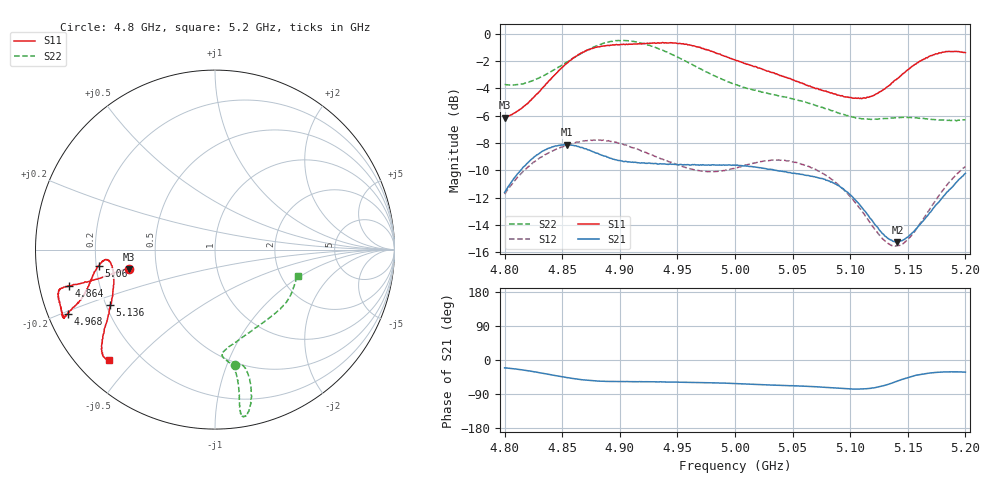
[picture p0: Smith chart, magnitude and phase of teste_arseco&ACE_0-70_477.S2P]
! Network Analyzer HP8722D
! Hewlett-Packard
! Data name: Linha & Wilkinson
! Saver's name: Rodrigo Anjos
! Comments: Teste da utilização de aquisição
! continua pelo VNA HP8722D
! Time and date: 8/5/2025 16:44
!  Frequency  S11  S21  S12  S22
# HZ  S  MA R 50
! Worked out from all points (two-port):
!   401 points, 4.8 GHz to 5.2 GHz, reference 50 ohm
!   highest |S21| = -8.13 dB at 4.854 GHz (marker M1); lowest = -15.2 dB at 5.141 GHz (marker M2)
!   |S21| within 3 dB of the highest: 4.804 GHz to 5.09 GHz (286.4 MHz wide, 5.79 % of centre); 5.189625 GHz to end of sweep
!   lowest |S11| = -6.1 dB at 4.8 GHz (marker M3), VSWR 2.95, Z = 17.2 - j4.89 ohm
!   |S11| at or under -10 dB: nowhere
!   |S22| runs from -6.4 to -0.5 dB; largest |S21 - S12| = 0.62
!   S11 on the Smith chart (normalised r, x): 4.8 GHz: 0.34, -0.10; 4.864 GHz: 0.09, -0.12; 4.968 GHz: 0.06, -0.21; 5.06 GHz: 0.21, -0.07; 5.136 GHz: 0.22, -0.24; 5.2 GHz: 0.09, -0.42
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4.8e9  0.4931 -167.4  0.2624 -20.8  0.2586 -141.9  0.6525 -80.2
4.826e9  0.5892 -166.8  0.3546 -31.4  0.3397 -146.1  0.6772 -75.9
4.854e9  0.7793 -165.9  0.392 -46.5  0.3904 -151.0  0.7881 -75.3
4.864e9  0.8396 -166.0  0.3863 -50.7  0.4008 -152.6  0.8339 -76.0
4.867e9  0.851 -166.0  0.3834 -52.1  0.4038 -153.1  0.8494 -76.2
4.898e9  0.9104 -163.2  0.3438 -56.9  0.398 -157.1  0.9433 -79.7
4.914e9  0.9164 -159.9  0.3377 -57.0  0.3785 -157.6  0.9342 -80.9
4.934e9  0.924 -156.7  0.3334 -57.8  0.3513 -155.9  0.8789 -81.1
4.968e9  0.8943 -156.4  0.3307 -59.3  0.3156 -147.9  0.7505 -80.2
5e9  0.8022 -159.4  0.3302 -62.2  0.3224 -137.7  0.6518 -81.8
5.035e9  0.7137 -165.8  0.316 -66.3  0.3452 -135.1  0.5964 -86.0
5.06e9  0.6549 -172.2  0.3038 -69.2  0.3304 -137.2  0.5633 -84.4
5.067e9  0.6372 -173.4  0.3005 -70.2  0.3224 -137.8  0.5514 -82.6
5.084e9  0.6069 -174.7  0.2866 -73.4  0.2925 -139.2  0.5224 -75.9
5.099e9  0.5842 -172.3  0.2592 -76.2  0.2558 -139.5  0.499 -67.2
5.116e9  0.5849 -164.4  0.215 -75.4  0.2068 -135.1  0.4861 -54.9
5.134e9  0.6469 -153.2  0.1767 -63.1  0.1694 -118.7  0.4908 -42.9
5.136e9  0.6599 -152.2  0.1753 -61.2  0.1675 -116.1  0.4909 -41.6
5.141e9  0.6854 -149.5  0.1728 -55.5  0.1672 -109.4  0.4921 -38.7
5.152e9  0.7484 -144.8  0.1833 -44.6  0.1798 -95.7  0.4932 -33.1
5.17e9  0.8311 -139.5  0.2227 -34.0  0.2311 -82.1  0.4857 -25.2
5.2e9  0.8518 -133.9  0.308 -32.2  0.3265 -77.7  0.4833 -17.8
